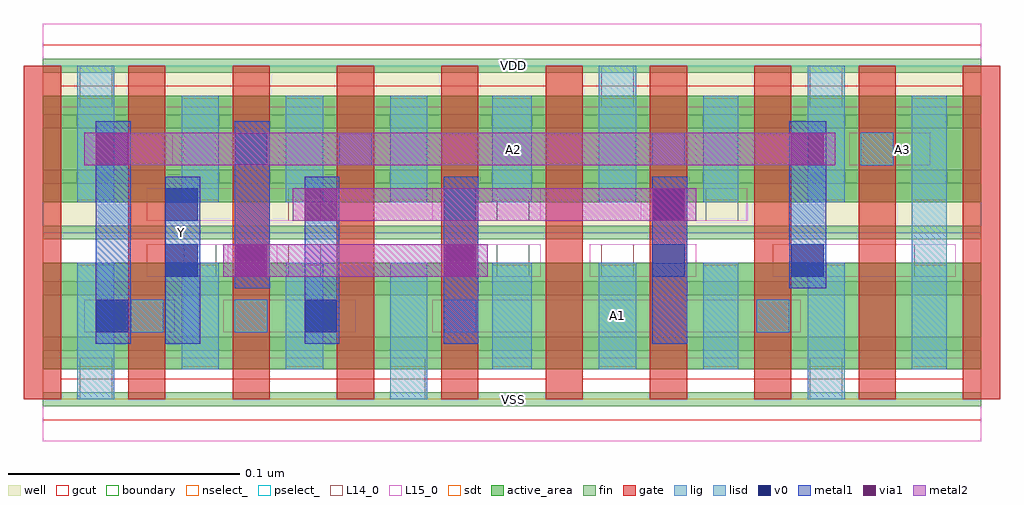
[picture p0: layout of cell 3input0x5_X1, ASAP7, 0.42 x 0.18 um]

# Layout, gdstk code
import gdstk
lib = gdstk.Library(unit=1e-6, precision=1e-09)
def R(c, l, rs):  # rectangles x0, y0, x1, y1
    for r in rs: c.add(gdstk.rectangle(r[:2], r[2:], *l))
def A(c, l, x, y, w, h, nx, ny, dx, dy):  # array of equal rectangles
    R(c, l, [(x+i*dx, y+j*dy, x+i*dx+w, y+j*dy+h) for i in range(nx) for j in range(ny)])
def P(c, l, *ps):  # polygons
    for p in ps: c.add(gdstk.Polygon(p, *l))
well = (1, 0)
fin = (2, 0)
gate = (7, 0)
gcut = (10, 0)
active_area = (11, 0)
nselect_ = (12, 0)
pselect_ = (13, 0)
L14_0 = (14, 0)
L15_0 = (15, 0)
lig = (16, 0)
lisd = (17, 0)
v0 = (18, 0)
metal1 = (19, 0)
metal2 = (20, 0)
via1 = (21, 0)
sdt = (88, 0)
boundary = (100, 0)

c_3input0x5_x1 = lib.new_cell('3input0x5_X1')
R(c_3input0x5_x1, well, [(0,0.072,0.405,0.144)])
A(c_3input0x5_x1, fin, 0, -0.003, 0.405, 0.006, 1, 7, 0, 0.024)
A(c_3input0x5_x1, gate, -0.008, 0, 0.016, 0.144, 10, 1, 0.045, 0)
P(c_3input0x5_x1, gcut, [(0,-0.009),(0,0),(-0.008,0),(-0.008,0.135),(0.008,0.135),(0.008,0.009),(0.217,0.009),(0.217,0.135),(0.233,0.135),(0.233,0.009),(0.397,0.009),(0.397,0.135),(-0.008,0.135),(-0.008,0.144),(0,0.144),(0,0.153),(0.405,0.153),(0.405,0.144),(0.413,0.144),(0.413,0),(0.405,0),(0.405,-0.009)])
R(c_3input0x5_x1, active_area, [(0,0.013,0.405,0.059), (0,0.085,0.405,0.131)])
R(c_3input0x5_x1, nselect_, [(0,0,0.405,0.072)])
R(c_3input0x5_x1, pselect_, [(0,0.072,0.405,0.144)])
A(c_3input0x5_x1, L14_0, 0.106, 0.077, 0.014, 0.014, 3, 1, 0.09, 0)
R(c_3input0x5_x1, L14_0, [(0.016,0,0.03,0.018), (0.15,0,0.165,0.018), (0.331,0,0.345,0.018), (0.038,0.029,0.052,0.043), (0.083,0.029,0.097,0.043), (0.173,0.029,0.187,0.043), (0.308,0.029,0.322,0.043), (0.061,0.053,0.075,0.067), (0.106,0.053,0.12,0.067), (0.196,0.053,0.21,0.067), (0.241,0.053,0.255,0.067), (0.376,0.053,0.39,0.067), (0.061,0.101,0.075,0.115), (0.128,0.101,0.142,0.115), (0.263,0.101,0.277,0.115), (0.353,0.101,0.367,0.115), (0.016,0.126,0.03,0.144), (0.241,0.126,0.255,0.144), (0.331,0.126,0.345,0.144)])
R(c_3input0x5_x1, L15_0, [(0,-0.018,0.405,0.018), (0.018,0.029,0.057,0.043), (0.078,0.029,0.135,0.043), (0.168,0.029,0.327,0.043), (0.045,0.053,0.08,0.067), (0.101,0.053,0.215,0.067), (0.236,0.053,0.282,0.067), (0.315,0.053,0.394,0.067), (0.045,0.077,0.125,0.091), (0.168,0.077,0.215,0.091), (0.258,0.077,0.304,0.091), (0.056,0.101,0.102,0.115), (0.123,0.101,0.282,0.115), (0.348,0.101,0.383,0.115), (0,0.126,0.405,0.162)])
R(c_3input0x5_x1, lig, [(0.038,0.029,0.052,0.043), (0.083,0.029,0.097,0.043), (0.173,0.029,0.187,0.043), (0.308,0.029,0.322,0.043), (0.128,0.101,0.142,0.115), (0.263,0.101,0.277,0.115), (0.353,0.101,0.367,0.115)])
A(c_3input0x5_x1, lisd, 0.06, 0.085, 0.016, 0.046, 3, 1, 0.045, 0)
R(c_3input0x5_x1, lisd, [(0.015,0,0.031,0.059), (0.15,0,0.166,0.059), (0.33,0,0.346,0.059), (0.06,0.013,0.076,0.059), (0.105,0.013,0.121,0.059), (0.194,0.013,0.211,0.059), (0.24,0.013,0.256,0.059), (0.285,0.013,0.3,0.059), (0.375,0.013,0.39,0.131), (0.015,0.085,0.031,0.144), (0.194,0.085,0.211,0.131), (0.24,0.085,0.256,0.144), (0.285,0.085,0.3,0.131), (0.33,0.085,0.346,0.144)])
R(c_3input0x5_x1, v0, [(0.023,0.029,0.037,0.043), (0.113,0.029,0.127,0.043), (0.053,0.053,0.067,0.067), (0.263,0.053,0.277,0.067), (0.323,0.053,0.337,0.067), (0.053,0.077,0.067,0.091), (0.173,0.077,0.187,0.091), (0.263,0.077,0.277,0.091), (0.083,0.101,0.097,0.115)])
A(c_3input0x5_x1, metal1, 0.053, 0.024, 0.015, 0.072, 3, 1, 0.06, 0)
R(c_3input0x5_x1, metal1, [(0.023,0.024,0.038,0.12), (0.263,0.024,0.278,0.096), (0.083,0.048,0.098,0.12), (0.322,0.048,0.338,0.12)])
R(c_3input0x5_x1, metal2, [(0.078,0.053,0.192,0.067), (0.108,0.077,0.282,0.091), (0.018,0.101,0.342,0.115)])
R(c_3input0x5_x1, via1, [(0.083,0.053,0.097,0.067), (0.173,0.053,0.187,0.067), (0.113,0.077,0.127,0.091), (0.263,0.077,0.277,0.091), (0.023,0.101,0.037,0.115), (0.323,0.101,0.337,0.115)])
A(c_3input0x5_x1, sdt, 0.015, 0.014, 0.016, 0.044, 4, 2, 0.045, 0.072)
R(c_3input0x5_x1, sdt, [(0.194,0.014,0.211,0.058), (0.24,0.014,0.256,0.058), (0.285,0.014,0.3,0.058), (0.33,0.014,0.346,0.058), (0.375,0.014,0.39,0.058), (0.194,0.086,0.211,0.13), (0.24,0.086,0.256,0.13), (0.285,0.086,0.3,0.13), (0.33,0.086,0.346,0.13), (0.375,0.086,0.39,0.13)])
R(c_3input0x5_x1, boundary, [(0,0,0.405,0.144)])
c_3input0x5_x1.add(gdstk.Label('A2', (0.203,0.108), layer=15, texttype=251))
c_3input0x5_x1.add(gdstk.Label('VSS', (0.203,0), layer=15, texttype=251))
c_3input0x5_x1.add(gdstk.Label('VDD', (0.203,0.144), layer=15, texttype=251))
c_3input0x5_x1.add(gdstk.Label('VSS', (0.203,0), layer=15, texttype=251))
c_3input0x5_x1.add(gdstk.Label('VDD', (0.203,0.144), layer=15, texttype=251))
c_3input0x5_x1.add(gdstk.Label('A3', (0.371,0.108), layer=15, texttype=251))
c_3input0x5_x1.add(gdstk.Label('VSS', (0.203,0), layer=15, texttype=251))
c_3input0x5_x1.add(gdstk.Label('VDD', (0.203,0.144), layer=15, texttype=251))
c_3input0x5_x1.add(gdstk.Label('A1', (0.248,0.036), layer=15, texttype=251))
c_3input0x5_x1.add(gdstk.Label('VSS', (0.203,0), layer=15, texttype=251))
c_3input0x5_x1.add(gdstk.Label('VDD', (0.203,0.144), layer=15, texttype=251))
c_3input0x5_x1.add(gdstk.Label('VSS', (0.203,0), layer=3, texttype=251))
c_3input0x5_x1.add(gdstk.Label('VSS', (0.203,0), layer=3, texttype=251))
c_3input0x5_x1.add(gdstk.Label('VSS', (0.203,0), layer=3, texttype=251))
c_3input0x5_x1.add(gdstk.Label('VSS', (0.203,0), layer=3, texttype=251))
c_3input0x5_x1.add(gdstk.Label('VDD', (0.203,0.144), layer=1, texttype=251))
c_3input0x5_x1.add(gdstk.Label('VDD', (0.203,0.144), layer=1, texttype=251))
c_3input0x5_x1.add(gdstk.Label('VDD', (0.203,0.144), layer=1, texttype=251))
c_3input0x5_x1.add(gdstk.Label('VDD', (0.203,0.144), layer=1, texttype=251))
c_3input0x5_x1.add(gdstk.Label('Y', (0.06,0.072), layer=19, texttype=251))

lib.write_gds('3input0x5_X1.gds')
